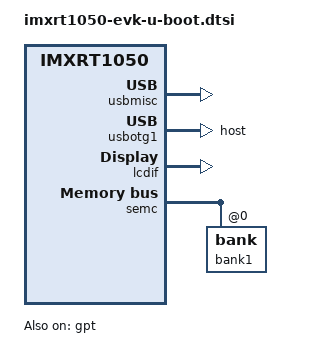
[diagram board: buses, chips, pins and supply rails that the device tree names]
// SPDX-License-Identifier: (GPL-2.0+ OR BSD-3-Clause)
/*
 * Copyright (C) 2019
 * Author(s): Giulio Benetti <giulio.benetti@benettiengineering.com>
 */

#include <dt-bindings/memory/imxrt-sdram.h>
#include "imxrt1050-pinfunc.h"

/ {
	binman: binman {
		multiple-images;
	};

	aliases {
		display0 = &lcdif;
		usbphy0 = &usbphy1;
	};

	chosen {
		bootph-pre-ram;
		tick-timer = &gpt;
	};

	clocks {
		bootph-pre-ram;
	};

	soc {
		bootph-pre-ram;

		usbphy1: usbphy@400d9000 {
			compatible = "fsl,imxrt-usbphy";
			reg = <0x400d9000 0x1000>;
			interrupts = <GIC_SPI 65 IRQ_TYPE_LEVEL_HIGH>;
		};

		usbmisc: usbmisc@402e0800 {
			#index-cells = <1>;
			compatible = "fsl,imxrt-usbmisc";
			reg = <0x402e0800 0x200>;
			clocks = <&clks IMXRT1050_CLK_USBOH3>;
		};

		usbotg1: usb@402e0000 {
			compatible = "fsl,imxrt-usb", "fsl,imx27-usb";
			reg = <0x402e0000 0x200>;
			interrupts = <GIC_SPI 113 IRQ_TYPE_LEVEL_HIGH>;
			clocks = <&clks IMXRT1050_CLK_USBOH3>;
			fsl,usbphy = <&usbphy1>;
			fsl,usbmisc = <&usbmisc 0>;
			ahb-burst-config = <0x0>;
			tx-burst-size-dword = <0x10>;
			rx-burst-size-dword = <0x10>;
			status = "disabled";
		};

		lcdif: lcdif@402b8000 {
			compatible = "fsl,imxrt-lcdif";
			reg = <0x402b8000 0x4000>;
			interrupts = <GIC_SPI 42 IRQ_TYPE_LEVEL_HIGH>;
			clocks = <&clks IMXRT1050_CLK_LCDIF_PIX>,
				 <&clks IMXRT1050_CLK_LCDIF_APB>;
			clock-names = "pix", "axi";
			assigned-clocks = <&clks IMXRT1050_CLK_LCDIF_SEL>;
			assigned-clock-parents = <&clks IMXRT1050_CLK_PLL5_VIDEO>;
			status = "disabled";
		};

		semc: semc@402f0000 {
			compatible = "fsl,imxrt-semc";
			reg = <0x402f0000 0x4000>;
			clocks = <&clks IMXRT1050_CLK_SEMC>;
			pinctrl-0 = <&pinctrl_semc>;
			pinctrl-names = "default";
			status = "okay";
		};
	};
};

&semc {
	bootph-pre-ram;
	/*
	 * Memory configuration from sdram datasheet IS42S16160J-6BLI
	 */
	fsl,sdram-mux = /bits/ 8 <MUX_A8_SDRAM_A8
				MUX_CSX0_SDRAM_CS1
				0
				0
				0
				0>;
	fsl,sdram-control = /bits/ 8 <MEM_WIDTH_16BITS
					BL_8
					COL_9BITS
					CL_3>;
	fsl,sdram-timing = /bits/ 8 <0x2
				     0x2
				     0x9
				     0x1
				     0x5
				     0x6

				     0x20
				     0x09
				     0x01
				     0x00

				     0x04
				     0x0A
				     0x21
				     0x50>;

	bank1: bank@0 {
		fsl,base-address = <0x80000000>;
		fsl,memory-size = <MEM_SIZE_32M>;
		bootph-pre-ram;
	};
};

&binman {
#ifdef CONFIG_FSPI_CONF_HEADER
	imx-boot {
		filename = "flash.bin";
		pad-byte = <0x00>;

		fspi_conf_block {
			filename = CONFIG_FSPI_CONF_FILE;
			type = "blob-ext";
			offset = <0x0>;
		};

		spl {
			filename = "SPL";
			offset = <0x1000>;
			type = "blob-ext";
		};

		binman_uboot: uboot {
			filename = "u-boot.img";
			offset = <0x10000>;
			type = "blob-ext";
		};
	};
#endif
};

&osc {
	bootph-pre-ram;
};

&anatop {
	bootph-pre-ram;
};

&clks {
	bootph-pre-ram;
};

&gpio1 {
	compatible = "fsl,imxrt-gpio", "fsl,imx35-gpio";
	bootph-pre-ram;
};

&gpio2 {
	compatible = "fsl,imxrt-gpio", "fsl,imx35-gpio";
	bootph-pre-ram;
};

&gpio3 {
	compatible = "fsl,imxrt-gpio", "fsl,imx35-gpio";
	bootph-pre-ram;
};

&gpio4 {
	compatible = "fsl,imxrt-gpio", "fsl,imx35-gpio";
	bootph-pre-ram;
};

&gpio5 {
	compatible = "fsl,imxrt-gpio", "fsl,imx35-gpio";
	bootph-pre-ram;
};

&gpt {
	clocks = <&osc>;
	compatible = "fsl,imxrt-gpt";
	status = "okay";
	bootph-pre-ram;
};

&lpuart1 { /* console */
	compatible = "fsl,imxrt-lpuart";
	clock-names = "per";
	bootph-pre-ram;
};

&iomuxc {
	bootph-pre-ram;
	compatible = "fsl,imxrt-iomuxc";
	pinctrl-0 = <&pinctrl_lpuart1>;

	pinctrl_semc: semcgrp {
		fsl,pins = <
			MXRT1050_IOMUXC_GPIO_EMC_00_SEMC_DA00
				0xf1	/* SEMC_D0 */
			MXRT1050_IOMUXC_GPIO_EMC_01_SEMC_DA01
				0xf1	/* SEMC_D1 */
			MXRT1050_IOMUXC_GPIO_EMC_02_SEMC_DA02
				0xf1	/* SEMC_D2 */
			MXRT1050_IOMUXC_GPIO_EMC_03_SEMC_DA03
				0xf1	/* SEMC_D3 */
			MXRT1050_IOMUXC_GPIO_EMC_04_SEMC_DA04
				0xf1	/* SEMC_D4 */
			MXRT1050_IOMUXC_GPIO_EMC_05_SEMC_DA05
				0xf1	/* SEMC_D5 */
			MXRT1050_IOMUXC_GPIO_EMC_06_SEMC_DA06
				0xf1	/* SEMC_D6 */
			MXRT1050_IOMUXC_GPIO_EMC_07_SEMC_DA07
				0xf1	/* SEMC_D7 */
			MXRT1050_IOMUXC_GPIO_EMC_08_SEMC_DM00
				0xf1	/* SEMC_DM0 */
			MXRT1050_IOMUXC_GPIO_EMC_09_SEMC_ADDR00
				0xf1	/* SEMC_A0 */
			MXRT1050_IOMUXC_GPIO_EMC_10_SEMC_ADDR01
				0xf1	/* SEMC_A1 */
			MXRT1050_IOMUXC_GPIO_EMC_11_SEMC_ADDR02
				0xf1	/* SEMC_A2 */
			MXRT1050_IOMUXC_GPIO_EMC_12_SEMC_ADDR03
				0xf1	/* SEMC_A3 */
			MXRT1050_IOMUXC_GPIO_EMC_13_SEMC_ADDR04
				0xf1	/* SEMC_A4 */
			MXRT1050_IOMUXC_GPIO_EMC_14_SEMC_ADDR05
				0xf1	/* SEMC_A5 */
			MXRT1050_IOMUXC_GPIO_EMC_15_SEMC_ADDR06
				0xf1	/* SEMC_A6 */
			MXRT1050_IOMUXC_GPIO_EMC_16_SEMC_ADDR07
				0xf1	/* SEMC_A7 */
			MXRT1050_IOMUXC_GPIO_EMC_17_SEMC_ADDR08
				0xf1	/* SEMC_A8 */
			MXRT1050_IOMUXC_GPIO_EMC_18_SEMC_ADDR09
				0xf1	/* SEMC_A9 */
			MXRT1050_IOMUXC_GPIO_EMC_19_SEMC_ADDR11
				0xf1	/* SEMC_A11 */
			MXRT1050_IOMUXC_GPIO_EMC_20_SEMC_ADDR12
				0xf1	/* SEMC_A12 */
			MXRT1050_IOMUXC_GPIO_EMC_21_SEMC_BA0
				0xf1	/* SEMC_BA0 */
			MXRT1050_IOMUXC_GPIO_EMC_22_SEMC_BA1
				0xf1	/* SEMC_BA1 */
			MXRT1050_IOMUXC_GPIO_EMC_23_SEMC_ADDR10
				0xf1	/* SEMC_A10 */
			MXRT1050_IOMUXC_GPIO_EMC_24_SEMC_CAS
				0xf1	/* SEMC_CAS */
			MXRT1050_IOMUXC_GPIO_EMC_25_SEMC_RAS
				0xf1	/* SEMC_RAS */
			MXRT1050_IOMUXC_GPIO_EMC_26_SEMC_CLK
				0xf1	/* SEMC_CLK */
			MXRT1050_IOMUXC_GPIO_EMC_27_SEMC_CKE
				0xf1	/* SEMC_CKE */
			MXRT1050_IOMUXC_GPIO_EMC_28_SEMC_WE
				0xf1	/* SEMC_WE */
			MXRT1050_IOMUXC_GPIO_EMC_29_SEMC_CS0
				0xf1	/* SEMC_CS0 */
			MXRT1050_IOMUXC_GPIO_EMC_30_SEMC_DA08
				0xf1	/* SEMC_D8 */
			MXRT1050_IOMUXC_GPIO_EMC_31_SEMC_DA09
				0xf1	/* SEMC_D9 */
			MXRT1050_IOMUXC_GPIO_EMC_32_SEMC_DA10
				0xf1	/* SEMC_D10 */
			MXRT1050_IOMUXC_GPIO_EMC_33_SEMC_DA11
				0xf1	/* SEMC_D11 */
			MXRT1050_IOMUXC_GPIO_EMC_34_SEMC_DA12
				0xf1	/* SEMC_D12 */
			MXRT1050_IOMUXC_GPIO_EMC_35_SEMC_DA13
				0xf1	/* SEMC_D13 */
			MXRT1050_IOMUXC_GPIO_EMC_36_SEMC_DA14
				0xf1	/* SEMC_D14 */
			MXRT1050_IOMUXC_GPIO_EMC_37_SEMC_DA15
				0xf1	/* SEMC_D15 */
			MXRT1050_IOMUXC_GPIO_EMC_38_SEMC_DM01
				0xf1	/* SEMC_DM1 */
			MXRT1050_IOMUXC_GPIO_EMC_39_SEMC_DQS
				(IMX_PAD_SION | 0xf1)	/* SEMC_DQS */
		>;
		bootph-pre-ram;
	};

	pinctrl_lcdif: lcdifgrp {
		fsl,pins = <
			MXRT1050_IOMUXC_GPIO_B0_00_LCD_CLK		0x1b0b1
			MXRT1050_IOMUXC_GPIO_B0_01_LCD_ENABLE		0x1b0b1
			MXRT1050_IOMUXC_GPIO_B0_02_LCD_HSYNC		0x1b0b1
			MXRT1050_IOMUXC_GPIO_B0_03_LCD_VSYNC		0x1b0b1
			MXRT1050_IOMUXC_GPIO_B0_04_LCD_DATA00		0x1b0b1
			MXRT1050_IOMUXC_GPIO_B0_05_LCD_DATA01		0x1b0b1
			MXRT1050_IOMUXC_GPIO_B0_06_LCD_DATA02		0x1b0b1
			MXRT1050_IOMUXC_GPIO_B0_07_LCD_DATA03		0x1b0b1
			MXRT1050_IOMUXC_GPIO_B0_08_LCD_DATA04		0x1b0b1
			MXRT1050_IOMUXC_GPIO_B0_09_LCD_DATA05		0x1b0b1
			MXRT1050_IOMUXC_GPIO_B0_10_LCD_DATA06		0x1b0b1
			MXRT1050_IOMUXC_GPIO_B0_11_LCD_DATA07		0x1b0b1
			MXRT1050_IOMUXC_GPIO_B0_12_LCD_DATA08		0x1b0b1
			MXRT1050_IOMUXC_GPIO_B0_13_LCD_DATA09		0x1b0b1
			MXRT1050_IOMUXC_GPIO_B0_14_LCD_DATA10		0x1b0b1
			MXRT1050_IOMUXC_GPIO_B0_15_LCD_DATA11		0x1b0b1
			MXRT1050_IOMUXC_GPIO_B1_01_LCD_DATA13		0x1b0b1
			MXRT1050_IOMUXC_GPIO_B1_02_LCD_DATA14		0x1b0b1
			MXRT1050_IOMUXC_GPIO_B1_03_LCD_DATA15		0x1b0b1
			MXRT1050_IOMUXC_GPIO_B1_15_GPIO2_IO31		0x0b069
			MXRT1050_IOMUXC_GPIO_AD_B0_02_GPIO1_IO02	0x0b069
		>;
	};

	pinctrl_lpuart1: lpuart1grp {
		bootph-pre-ram;
	};

	pinctrl_usdhc0: usdhc0grp {
		bootph-pre-ram;
	};
 };

&usdhc1 {
	compatible = "fsl,imxrt-usdhc";
	bootph-pre-ram;
};

&lcdif {
	pinctrl-names = "default";
	pinctrl-0 = <&pinctrl_lcdif>;
	display = <&display0>;
	status = "okay";

	display0: display0 {
		bits-per-pixel = <16>;
		bus-width = <16>;

		display-timings {
			timing0: timing0 {
				clock-frequency = <9300000>;
				hactive = <480>;
				vactive = <272>;
				hback-porch = <4>;
				hfront-porch = <8>;
				vback-porch = <4>;
				vfront-porch = <8>;
				hsync-len = <41>;
				vsync-len = <10>;
				de-active = <1>;
				pixelclk-active = <0>;
				hsync-active = <0>;
				vsync-active = <0>;
			};
		};
	};
};

&usbotg1 {
	dr_mode = "host";
	status = "okay";
};
